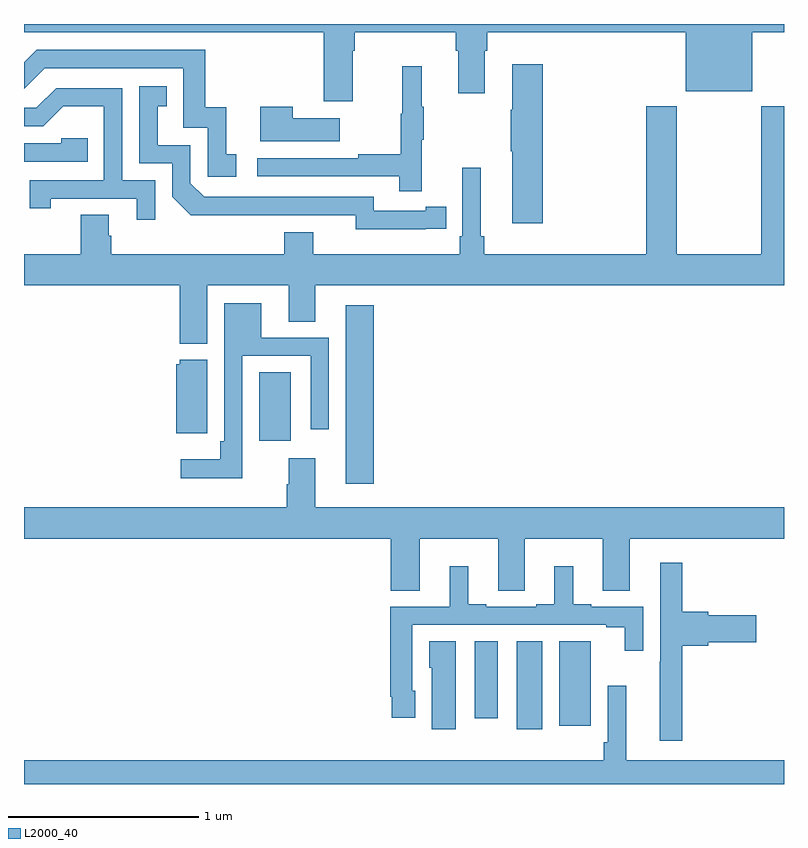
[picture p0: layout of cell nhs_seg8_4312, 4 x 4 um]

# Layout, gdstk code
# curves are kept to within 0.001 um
import gdstk
lib = gdstk.Library(unit=1e-6, precision=1e-09)
def R(c, l, rs):  # rectangles x0, y0, x1, y1
    for r in rs: c.add(gdstk.rectangle(r[:2], r[2:], *l))
def P(c, l, *ps):  # polygons
    for p in ps: c.add(gdstk.Polygon(p, *l))
L2000_40 = (2000, 40)

nhs_seg8_4312 = lib.new_cell('nhs_seg8_4312')
R(nhs_seg8_4312, L2000_40, [(377.594,1090.188,377.728,1090.652), (377.816,1090.206,377.983,1090.652), (377.372,1090.245,377.494,1090.652), (376.694,1091.481,376.841,1092.421), (376.238,1091.706,376.405,1092.068)])
P(nhs_seg8_4312, L2000_40, [(377.273,1093.76),(377.285,1093.76),(377.285,1093.536),(377.425,1093.536),(377.425,1093.76),(377.438,1093.76),(377.438,1093.856),(378.482,1093.856),(378.482,1093.547),(378.832,1093.547),(378.832,1093.856),(379,1093.856),(379,1093.9),(375,1093.9),(375,1093.856),(376.577,1093.856),(376.577,1093.494),(376.729,1093.494),(376.729,1093.76),(376.742,1093.76),(376.742,1093.856),(377.273,1093.856)],
  [(376.117,1093.215),(376.064,1093.215),(376.064,1093.462),(375.953,1093.462),(375.953,1093.764),(375.066,1093.764),(375,1093.698),(375,1093.56),(375.108,1093.668),(375.837,1093.668),(375.837,1093.353),(375.966,1093.353),(375.966,1093.095),(376.117,1093.095)],
  [(377.729,1093.687),(377.57,1093.687),(377.57,1093.448),(377.563,1093.448),(377.563,1093.231),(377.57,1093.231),(377.57,1092.852),(377.729,1092.852)],
  [(377.093,1093.291),(377.104,1093.291),(377.104,1093.465),(377.093,1093.465),(377.093,1093.678),(376.99,1093.678),(376.99,1093.428),(376.983,1093.428),(376.983,1093.214),(376.759,1093.214),(376.759,1093.194),(376.227,1093.194),(376.227,1093.098),(376.975,1093.098),(376.975,1093.02),(377.093,1093.02)],
  [(377.114,1092.822),(377.222,1092.822),(377.222,1092.938),(377.114,1092.938),(377.114,1092.918),(376.842,1092.918),(376.842,1092.99),(375.948,1092.99),(375.876,1093.062),(375.876,1093.263),(375.703,1093.263),(375.703,1093.467),(375.752,1093.467),(375.752,1093.573),(375.606,1093.573),(375.606,1093.167),(375.78,1093.167),(375.78,1092.99),(375.878,1092.893),(376.746,1092.894),(376.746,1092.821)],
  [(375.69,1093.077),(375.516,1093.077),(375.516,1093.563),(375.17,1093.563),(375.065,1093.458),(375,1093.458),(375,1093.362),(375.102,1093.362),(375.206,1093.466),(375.42,1093.466),(375.42,1093.077),(375.031,1093.077),(375.031,1092.93),(375.142,1092.93),(375.142,1092.981),(375.593,1092.981),(375.593,1092.87),(375.69,1092.87)],
  [(375.964,1092.524),(376.394,1092.524),(376.394,1092.334),(376.534,1092.334),(376.534,1092.524),(379,1092.524),(379,1093.468),(378.88,1093.468),(378.88,1092.688),(378.435,1092.688),(378.435,1093.468),(378.275,1093.468),(378.275,1092.688),(377.423,1092.688),(377.423,1092.784),(377.404,1092.784),(377.404,1093.144),(377.307,1093.144),(377.307,1092.784),(377.294,1092.784),(377.294,1092.688),(376.522,1092.688),(376.522,1092.805),(376.37,1092.805),(376.37,1092.688),(375.458,1092.688),(375.458,1092.786),(375.445,1092.786),(375.445,1092.896),(375.298,1092.896),(375.298,1092.688),(375,1092.688),(375,1092.524),(375.821,1092.524),(375.821,1092.218),(375.964,1092.218)],
  [(376.663,1093.405),(376.415,1093.405),(376.415,1093.465),(376.244,1093.465),(376.244,1093.283),(376.663,1093.283)],
  [(375.335,1093.299),(375.195,1093.299),(375.195,1093.272),(375,1093.272),(375,1093.176),(375.335,1093.176)],
  [(376.149,1092.153),(376.509,1092.153),(376.509,1091.766),(376.605,1091.766),(376.605,1092.249),(376.249,1092.249),(376.249,1092.43),(376.053,1092.43),(376.053,1091.704),(376.033,1091.704),(376.033,1091.608),(375.825,1091.608),(375.825,1091.51),(376.149,1091.51)],
  [(375.964,1092.133),(375.819,1092.133),(375.819,1092.108),(375.8,1092.108),(375.8,1091.747),(375.964,1091.747)],
  [(377.083,1091.192),(377.495,1091.192),(377.495,1090.918),(377.635,1090.918),(377.635,1091.192),(378.047,1091.192),(378.047,1090.918),(378.187,1090.918),(378.187,1091.192),(379,1091.192),(379,1091.356),(376.534,1091.356),(376.534,1091.614),(376.394,1091.614),(376.394,1091.477),(376.382,1091.477),(376.382,1091.356),(375,1091.356),(375,1091.192),(376.931,1091.192),(376.931,1090.918),(377.083,1090.918)],
  [(378.464,1090.628),(378.6,1090.628),(378.6,1090.646),(378.853,1090.646),(378.853,1090.788),(378.6,1090.788),(378.6,1090.806),(378.464,1090.806),(378.464,1091.065),(378.348,1091.065),(378.348,1090.544),(378.347,1090.544),(378.347,1090.128),(378.464,1090.128)],
  [(377.059,1090.392),(377.043,1090.392),(377.043,1090.737),(378.065,1090.737),(378.065,1090.725),(378.161,1090.725),(378.161,1090.602),(378.258,1090.602),(378.258,1090.833),(377.986,1090.833),(377.986,1090.846),(377.89,1090.846),(377.89,1091.047),(377.792,1091.047),(377.792,1090.846),(377.696,1090.846),(377.696,1090.833),(377.434,1090.833),(377.434,1090.846),(377.338,1090.846),(377.338,1091.047),(377.24,1091.047),(377.24,1090.833),(376.927,1090.833),(376.927,1090.36),(376.935,1090.36),(376.935,1090.248),(377.059,1090.248)],
  [(377.272,1090.652),(377.132,1090.652),(377.132,1090.512),(377.147,1090.512),(377.147,1090.188),(377.272,1090.188)],
  [(379,1090.024),(378.17,1090.024),(378.17,1090.417),(378.072,1090.417),(378.072,1090.12),(378.052,1090.12),(378.052,1090.024),(375,1090.024),(375,1089.9),(379,1089.9)])

lib.write_gds('nhs_seg8_4312.gds')
